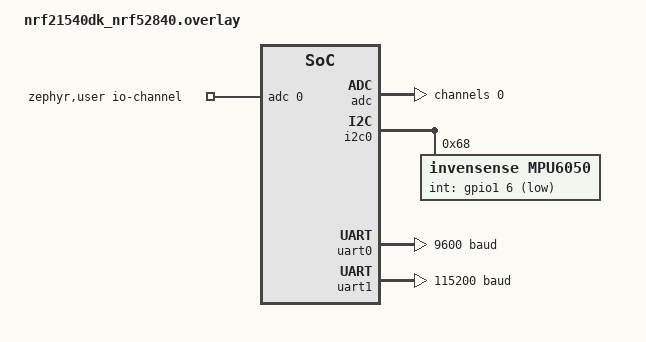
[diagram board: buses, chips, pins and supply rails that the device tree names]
/* nrf21540dk_nrf52840.overlay */
 / {
     zephyr,user {
         /* 仅保留 ADC 通道 0 (P0.03, NRF_SAADC_AIN1) */
         io-channels = <&adc 0>;
     };
     aliases {
         uart0 = &uart0;
     };

 };

 &adc {
     #address-cells = <1>;
     #size-cells = <0>;

     channel@0 {
         reg = <0>;
         zephyr,gain = "ADC_GAIN_1_6";
         zephyr,reference = "ADC_REF_INTERNAL";
         zephyr,acquisition-time = <ADC_ACQ_TIME_DEFAULT>;
         zephyr,input-positive = <NRF_SAADC_AIN1>; /* P0.03 */
         zephyr,resolution = <12>;
     };
 };

&gpio1 {
    label = "gpio1";
    status = "okay";
};

&i2c0 {
    status = "okay";
    pinctrl-names = "default", "sleep";
    pinctrl-0 = <&i2c0_default>;
    pinctrl-1 = <&i2c0_sleep>;

    mpu6050@68 {
        compatible = "invensense,mpu6050";
        reg        = <0x68>;
        status     = "okay";
        int-gpios = <&gpio1 6 GPIO_ACTIVE_LOW>;
    };
};

&uart0 {
    label         = "uart0";
    status        = "okay";
    current-speed = <9600>;
    parity        = "none";
    pinctrl-0     = <&uart0_default>;
    pinctrl-1     = <&uart0_sleep>;
    pinctrl-names = "default", "sleep";
};

&uart1 {
    status        = "okay";
    current-speed = <115200>;
    pinctrl-0     = <&uart1_default>;
    pinctrl-1     = <&uart1_sleep>;
    pinctrl-names = "default", "sleep";
};

